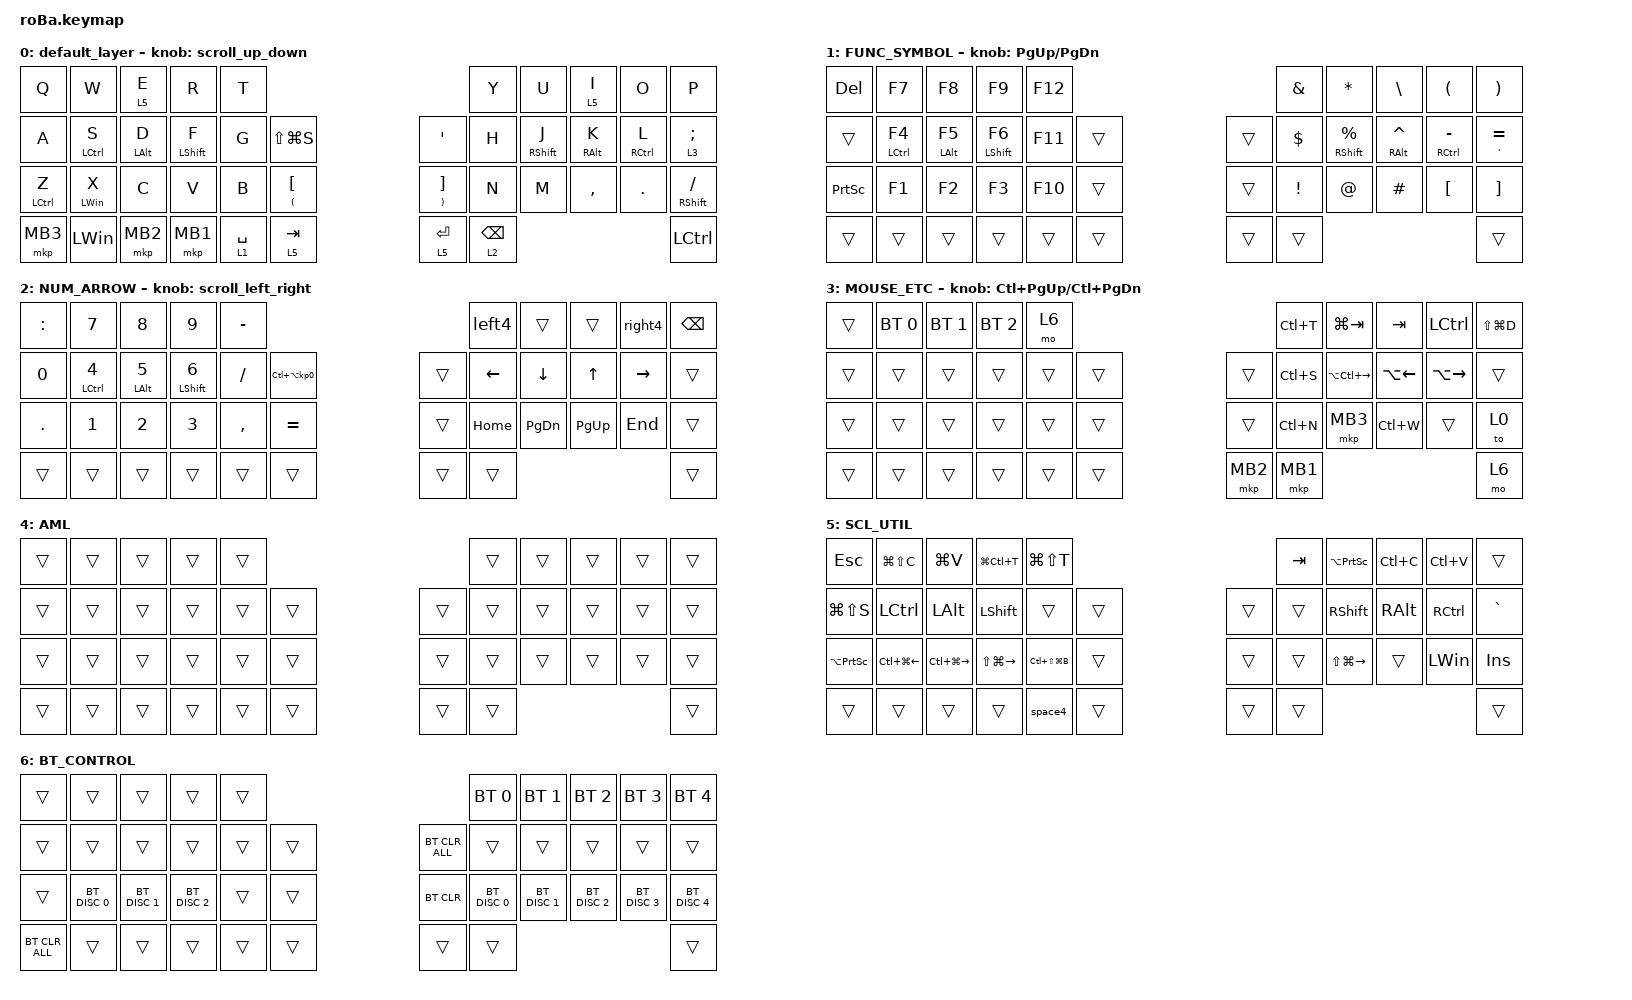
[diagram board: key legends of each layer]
#include <behaviors.dtsi>
#include <dt-bindings/zmk/bt.h>
#include <dt-bindings/zmk/keys.h>
#include <dt-bindings/zmk/pointing.h>

#define MOUSE 4
#define SCROLL 5
#define NUM 6

#define ZMK_POINTING_DEFAULT_SCRL_VAL 100

&mt {
    flavor = "balanced";
    quick-tap-ms = <300>;
};

&lt { quick-tap-ms = <300>; };

/ {
    combos {
        compatible = "zmk,combos";

        tab {
            bindings = <&kp TAB>;
            key-positions = <11 10>;
        };

        toEng {
            bindings = <&kp LANG2>;
            key-positions = <24 25>;
        };

        toJp {
            bindings = <&kp LANG1>;
            key-positions = <31 30>;
        };

        tonzura {
            bindings = <&kp ESCAPE>;
            key-positions = <0 1>;
        };

        Rtonzura {
            bindings = <&kp ESCAPE>;
            key-positions = <8 9>;
        };

        single {
            bindings = <&kp SQT>;
            key-positions = <32 33>;
        };

        minus {
            bindings = <&kp MINUS>;
            key-positions = <20 21>;
        };

        mb2 {
            bindings = <&mkp MB2>;
            key-positions = <12 13>;
        };

        mb3 {
            bindings = <&mkp MB3>;
            key-positions = <22 23>;
        };
    };

    macros {
        to_layer_0: to_layer_0 {
            compatible = "zmk,behavior-macro-one-param";
            #binding-cells = <1>;
            bindings = <&to 0 &macro_param_1to1 &kp MACRO_PLACEHOLDER>;
            label = "TO_LAYER_0";
        };

        space4: space4 {
            compatible = "zmk,behavior-macro";
            #binding-cells = <0>;
            bindings = <&kp SPACE &kp SPACE &kp SPACE &kp SPACE>;
            label = "SPACE4";
        };

        right4: right4 {
            compatible = "zmk,behavior-macro";
            #binding-cells = <0>;
            bindings = <&kp RIGHT &kp RIGHT &kp RIGHT &kp RIGHT>;
            label = "RIGHT4";
        };

        left4: left4 {
            compatible = "zmk,behavior-macro";
            #binding-cells = <0>;
            bindings = <&kp LEFT &kp LEFT &kp LEFT &kp LEFT>;
            label = "LEFT4";
        };

        tabSw_st: tabSw_st {
            compatible = "zmk,behavior-macro";
            #binding-cells = <0>;
            bindings =
                <&macro_press>,
                <&kp LCTRL &kp TAB>,
                <&macro_release>,
                <&kp TAB>;

            label = "TABSW_ST";
        };

        tabSw_ed: tabSw_ed {
            compatible = "zmk,behavior-macro";
            #binding-cells = <0>;
            bindings =
                <&macro_press>,
                <&kp LCTRL>,
                <&macro_release>,
                <&kp LCTRL>;

            label = "TABSW_ED";
        };
    };

    behaviors {
        lt_to_layer_0: lt_to_layer_0 {
            compatible = "zmk,behavior-hold-tap";
            label = "LAYER_TAP_TO_0";
            bindings = <&mo>, <&to_layer_0>;

            #binding-cells = <2>;
            tapping-term-ms = <200>;
        };

        scroll_up_down: behavior_sensor_rotate_mouse_wheel_up_down {
            compatible = "zmk,behavior-sensor-rotate";
            #sensor-binding-cells = <0>;
            bindings = <&msc SCRL_UP>, <&msc SCRL_DOWN>;

            tap-ms = <20>;
        };

        scroll_down_up: behavior_sensor_rotate_mouse_wheel_down_up {
            compatible = "zmk,behavior-sensor-rotate";
            #sensor-binding-cells = <0>;
            bindings = <&msc SCRL_DOWN>, <&msc SCRL_UP>;

            tap-ms = <20>;
        };

        scroll_left_right: behavior_sensor_rotate_mouse_wheel_left_right {
            compatible = "zmk,behavior-sensor-rotate";
            #sensor-binding-cells = <0>;
            bindings = <&msc SCRL_LEFT>, <&msc SCRL_RIGHT>;

            tap-ms = <20>;
        };

        // エンコーダー：マウススクロール(MOVE_Y 専用)
        scroll_move_y: sensor_rotate_msc_for_move_y {
            compatible = "zmk,behavior-sensor-rotate";
            #sensor-binding-cells = <0>;
            bindings = <&msc MOVE_Y(20)>, <&msc MOVE_Y(-20)>;

            tap-ms = <65>;
        };

        // エンコーダー：マウススクロール(MOVE_X 専用)
        scroll_move_x: sensor_rotate_msc_for_move_x {
            compatible = "zmk,behavior-sensor-rotate";
            #sensor-binding-cells = <0>;
            bindings = <&msc MOVE_X(20)>, <&msc MOVE_X(-20)>;

            tap-ms = <65>;
        };
    };

    keymap {
        compatible = "zmk,keymap";

        default_layer {
            bindings = <
&kp Q        &kp W           &lt 5 E     &kp R         &kp T                                                                                    &kp Y            &kp U        &lt 5 I     &kp O        &kp P
&kp A        &mt LCTRL S     &mt LALT D  &mt LSHIFT F  &kp G        &kp LS(LG(S))                          &kp SINGLE_QUOTE                     &kp H            &mt RSHFT J  &mt RALT K  &mt RCTRL L  &lt 3 SEMICOLON
&mt LCTRL Z  &mt LEFT_WIN X  &kp C       &kp V         &kp B        &mt LEFT_PARENTHESIS LEFT_BRACKET      &mt RIGHT_PARENTHESIS RIGHT_BRACKET  &kp N            &kp M        &kp COMMA   &kp DOT      &mt RSHFT SLASH
&mkp MB3     &kp LWIN        &mkp MB2    &mkp MB1      &lt 1 SPACE  &lt 5 TAB                              &lt 5 ENTER                          &lt 2 BACKSPACE                                        &kp LCTRL
            >;

            sensor-bindings = <&scroll_up_down>;
        };

        FUNC_SYMBOL {
            bindings = <
&kp DELETE       &kp F7        &kp F8       &kp F9         &kp F12                      &kp AMPERSAND    &kp ASTRK          &kp BACKSLASH   &kp LPAR         &kp RPAR
&trans           &mt LCTRL F4  &mt LALT F5  &mt LSHIFT F6  &kp F11  &trans      &trans  &kp DOLLAR       &mt RSHFT PERCENT  &mt RALT CARET  &mt RCTRL MINUS  &mt SINGLE_QUOTE EQUAL
&kp PRINTSCREEN  &kp F1        &kp F2       &kp F3         &kp F10  &trans      &trans  &kp EXCLAMATION  &kp AT_SIGN        &kp HASH        &kp LBKT         &kp RIGHT_BRACKET
&trans           &trans        &trans       &trans         &trans   &trans      &trans  &trans                                                               &trans
            >;

            sensor-bindings = <&inc_dec_kp PAGE_UP PAGE_DOWN>;
        };

        NUM_ARROW {
            bindings = <
&kp COLON   &kp N7        &kp N8           &kp N9        &kp MINUS                                       &left4    &trans         &trans        &right4    &kp BACKSPACE
&kp N0      &mt LCTRL N4  &mt LEFT_ALT N5  &mt LSHFT N6  &kp SLASH  &kp LC(LA(KP_NUMBER_0))      &trans  &kp LEFT  &kp DOWN       &kp UP_ARROW  &kp RIGHT  &trans
&kp PERIOD  &kp N1        &kp N2           &kp N3        &kp COMMA  &kp EQUAL                    &trans  &kp HOME  &kp PAGE_DOWN  &kp PAGE_UP   &kp END    &trans
&trans      &trans        &trans           &trans        &trans     &trans                       &trans  &trans                                            &trans
            >;

            sensor-bindings = <&scroll_left_right>;
        };

        MOUSE_ETC {
            bindings = <
&trans  &bt BT_SEL 0  &bt BT_SEL 1  &bt BT_SEL 2  &mo 6                         &kp LC(T)  &kp LG(TAB)        &kp TAB       &kp LCTRL      &kp LS(LG(D))
&trans  &trans        &trans        &trans        &trans  &trans      &trans    &kp LC(S)  &kp LA(LC(RIGHT))  &kp LA(LEFT)  &kp LA(RIGHT)  &trans
&trans  &trans        &trans        &trans        &trans  &trans      &trans    &kp LC(N)  &mkp MB3           &kp LC(W)     &trans         &to 0
&trans  &trans        &trans        &trans        &trans  &trans      &mkp MB2  &mkp MB1                                                   &mo 6
            >;

            sensor-bindings = <&inc_dec_kp LC(PAGE_UP) LC(PAGE_DOWN)>;
        };

        AML {
            bindings = <
&trans  &trans  &trans  &trans  &trans                      &trans  &trans  &trans  &trans  &trans
&trans  &trans  &trans  &trans  &trans  &trans      &trans  &trans  &trans  &trans  &trans  &trans
&trans  &trans  &trans  &trans  &trans  &trans      &trans  &trans  &trans  &trans  &trans  &trans
&trans  &trans  &trans  &trans  &trans  &trans      &trans  &trans                          &trans
            >;
        };

        SCL_UTIL {
            bindings = <
&kp ESCAPE           &kp LG(LS(C))           &kp LG(V)                &kp LG(LC(T))      &kp LG(LS(T))                          &kp TAB  &kp LA(PRINTSCREEN)  &kp LC(C)      &kp LC(V)  &trans
&kp LG(LS(S))        &kp LCTRL               &kp LEFT_ALT             &kp LSHIFT         &trans             &trans      &trans  &trans   &kp RSHIFT           &kp RIGHT_ALT  &kp RCTRL  &kp GRAVE
&kp LA(PRINTSCREEN)  &kp LC(LG(LEFT_ARROW))  &kp LC(LG(RIGHT_ARROW))  &kp LS(LG(RIGHT))  &kp LC(LS(LG(B)))  &trans      &trans  &trans   &kp LS(LG(RIGHT))    &trans         &kp LWIN   &kp INSERT
&trans               &trans                  &trans                   &trans             &space4            &trans      &trans  &trans                                                  &trans
            >;
        };

        BT_CONTROL {
            bindings = <
&trans          &trans         &trans         &trans         &trans                              &bt BT_SEL 0   &bt BT_SEL 1   &bt BT_SEL 2   &bt BT_SEL 3   &bt BT_SEL 4
&trans          &trans         &trans         &trans         &trans  &trans      &bt BT_CLR_ALL  &trans         &trans         &trans         &trans         &trans
&trans          &bt BT_DISC 0  &bt BT_DISC 1  &bt BT_DISC 2  &trans  &trans      &bt BT_CLR      &bt BT_DISC 0  &bt BT_DISC 1  &bt BT_DISC 2  &bt BT_DISC 3  &bt BT_DISC 4
&bt BT_CLR_ALL  &trans         &trans         &trans         &trans  &trans      &trans          &trans                                                      &trans
            >;
        };
    };
};
